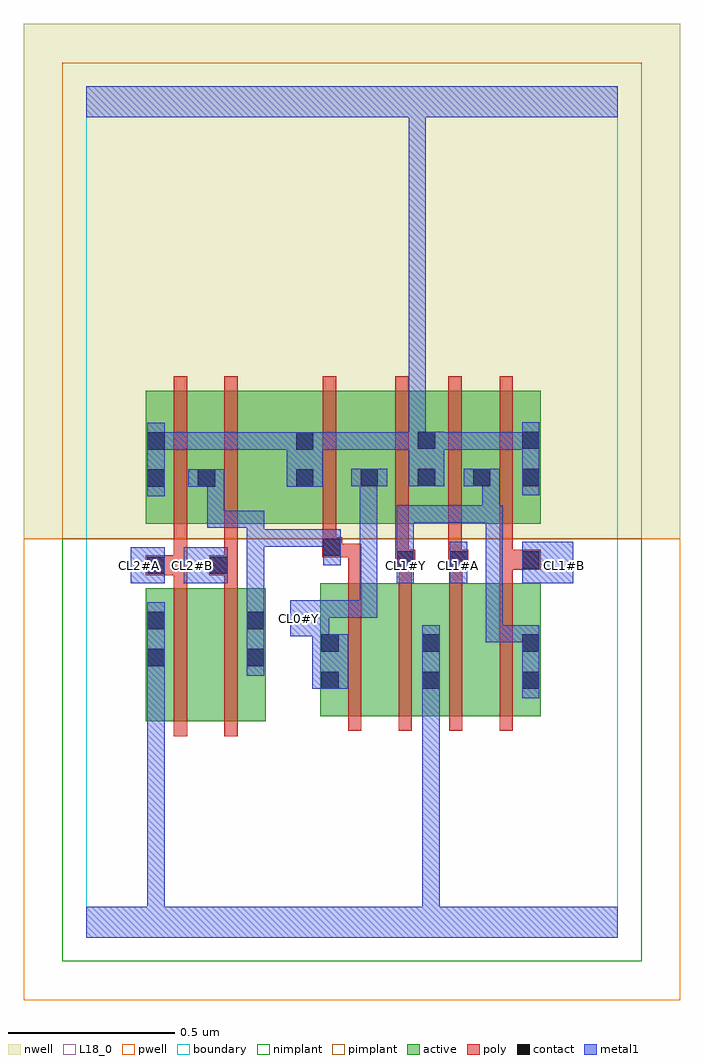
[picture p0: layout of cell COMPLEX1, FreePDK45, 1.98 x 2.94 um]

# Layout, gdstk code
import gdstk
lib = gdstk.Library(unit=1e-6, precision=1e-09)
def R(c, l, rs):  # rectangles x0, y0, x1, y1
    for r in rs: c.add(gdstk.rectangle(r[:2], r[2:], *l))
def A(c, l, x, y, w, h, nx, ny, dx, dy):  # array of equal rectangles
    R(c, l, [(x+i*dx, y+j*dy, x+i*dx+w, y+j*dy+h) for i in range(nx) for j in range(ny)])
active = (1, 0)
pwell = (2, 0)
nwell = (3, 0)
nimplant = (4, 0)
pimplant = (5, 0)
poly = (9, 0)
contact = (10, 0)
metal1 = (11, 0)
L18_0 = (18, 0)
boundary = (235, 0)

complex1 = lib.new_cell('COMPLEX1')
R(complex1, active, [(0.18,0.65,0.36,1.05), (0.36,0.65,0.54,1.05), (0.704,0.666,0.884,1.066), (0.884,0.666,1.068,1.066), (1.008,0.666,1.188,1.066), (1.188,0.666,1.368,1.066), (0.704,0.744,0.764,1.066), (1.008,0.744,1.068,0.916), (1.308,0.744,1.368,1.066), (0.18,0.756,0.24,1.05), (0.48,0.756,0.54,1.05), (0.18,1.244,0.24,1.644), (0.18,1.244,0.392,1.644), (0.332,1.244,0.392,1.644), (0.332,1.244,0.688,1.644), (0.628,1.244,0.688,1.644), (0.628,1.244,0.882,1.644), (0.822,1.244,0.882,1.644), (0.822,1.244,1.054,1.644), (0.994,1.244,1.054,1.644), (0.994,1.244,1.22,1.644), (1.16,1.244,1.22,1.644), (1.16,1.244,1.368,1.644), (1.308,1.244,1.368,1.644)])
R(complex1, pwell, [(-0.188,-0.188,1.788,1.2)])
R(complex1, nwell, [(-0.188,1.2,1.788,2.748)])
R(complex1, nimplant, [(-0.072,-0.072,1.672,1.2)])
R(complex1, pimplant, [(-0.072,1.2,1.672,2.632)])
A(complex1, poly, 0.788, 0.622, 0.04, 0.488, 4, 1, 0.152, 0)
A(complex1, poly, 0.94, 1.07, 0.04, 0.076, 3, 1, 0.152, 0)
R(complex1, poly, [(0.264,0.606,0.304,1.094), (0.416,0.606,0.456,1.094), (0.264,1.054,0.304,1.13), (0.416,1.054,0.456,1.13), (0.788,1.07,0.828,1.184), (0.18,1.09,0.304,1.15), (0.264,1.09,0.304,1.13), (0.264,1.09,0.304,1.13), (0.37,1.09,0.456,1.15), (0.93,1.106,0.99,1.166), (0.94,1.106,0.98,1.146), (0.94,1.106,0.98,1.146), (1.09,1.106,1.15,1.166), (1.244,1.106,1.368,1.166), (0.264,1.11,0.304,1.24), (0.416,1.11,0.456,1.15), (0.416,1.11,0.456,1.15), (0.416,1.11,0.456,1.24), (0.93,1.126,0.97,1.24), (1.09,1.126,1.13,1.24), (1.09,1.126,1.13,1.166), (1.09,1.126,1.13,1.166), (1.244,1.126,1.284,1.24), (1.244,1.126,1.284,1.166), (1.244,1.126,1.284,1.166), (0.71,1.144,0.77,1.204), (0.73,1.144,0.77,1.184), (0.73,1.144,0.828,1.184), (0.712,1.164,0.752,1.24), (0.264,1.2,0.304,1.688), (0.416,1.2,0.456,1.688), (0.712,1.2,0.752,1.688), (0.93,1.2,0.97,1.688), (1.09,1.2,1.13,1.688), (1.244,1.2,1.284,1.688)])
R(complex1, contact, [(0.708,0.748,0.76,0.8), (1.012,0.748,1.064,0.8), (1.312,0.748,1.364,0.8), (0.184,0.816,0.236,0.868), (0.484,0.816,0.536,0.868), (0.708,0.86,0.76,0.912), (1.012,0.86,1.064,0.912), (1.312,0.86,1.364,0.912), (0.184,0.928,0.236,0.98), (0.484,0.928,0.536,0.98), (0.184,1.094,0.236,1.146), (0.374,1.094,0.426,1.146), (0.934,1.11,0.986,1.162), (1.094,1.11,1.146,1.162), (1.312,1.11,1.364,1.162), (0.714,1.148,0.766,1.2), (0.184,1.356,0.236,1.408), (0.336,1.356,0.388,1.408), (0.632,1.356,0.684,1.408), (0.826,1.358,0.878,1.41), (0.998,1.358,1.05,1.41), (1.164,1.358,1.216,1.41), (1.312,1.358,1.364,1.41), (0.184,1.468,0.236,1.52), (0.632,1.468,0.684,1.52), (0.998,1.47,1.05,1.522), (1.312,1.47,1.364,1.522)])
R(complex1, metal1, [(0,0,1.6,0.092), (0.184,0.04,0.236,0.092), (0.184,0.04,0.236,0.092), (0.184,0.04,0.236,0.84), (1.012,0.04,1.064,0.092), (1.012,0.04,1.064,0.092), (1.012,0.04,1.064,0.772), (1.012,0.72,1.064,0.772), (1.012,0.72,1.064,0.772), (1.012,0.72,1.064,0.772), (1.012,0.72,1.064,0.772), (1.012,0.72,1.064,0.772), (1.012,0.72,1.064,0.772), (1.012,0.72,1.064,0.772), (1.012,0.72,1.064,0.772), (1.012,0.72,1.064,0.772), (1.012,0.72,1.064,0.772), (1.012,0.72,1.064,0.94), (1.312,0.72,1.364,0.94), (0.68,0.748,0.788,0.912), (0.184,0.788,0.236,0.84), (0.184,0.788,0.236,0.84), (0.184,0.788,0.236,0.84), (0.184,0.788,0.236,0.84), (0.184,0.788,0.236,0.84), (0.184,0.788,0.236,0.84), (0.184,0.788,0.236,0.84), (0.184,0.788,0.236,0.84), (0.184,0.788,0.236,0.84), (0.184,0.788,0.236,0.84), (0.184,0.788,0.236,1.008), (0.484,0.788,0.536,1.008), (0.68,0.86,0.732,0.958), (1.202,0.888,1.254,0.94), (1.202,0.888,1.364,0.94), (1.202,0.888,1.254,1.3), (1.312,0.888,1.364,0.94), (1.312,0.888,1.364,0.94), (0.614,0.906,0.732,1.014), (0.484,0.956,0.536,1.228), (0.68,0.962,0.876,1.014), (0.824,0.962,0.876,1.014), (0.824,0.962,0.876,1.014), (0.824,0.962,0.876,1.014), (0.824,0.962,0.876,1.41), (0.134,1.066,0.236,1.174), (0.294,1.066,0.426,1.174), (0.934,1.066,0.986,1.19), (1.094,1.066,1.146,1.19), (1.312,1.066,1.466,1.19), (0.714,1.12,0.766,1.228), (0.934,1.138,0.986,1.19), (0.934,1.138,0.986,1.3), (0.484,1.176,0.536,1.228), (0.484,1.176,0.536,1.228), (0.484,1.176,0.536,1.228), (0.484,1.176,0.536,1.228), (0.484,1.176,0.766,1.228), (0.484,1.176,0.536,1.284), (0.364,1.232,0.416,1.284), (0.364,1.232,0.416,1.284), (0.364,1.232,0.416,1.284), (0.364,1.232,0.536,1.284), (0.364,1.232,0.416,1.408), (0.934,1.248,1.244,1.3), (1.192,1.248,1.244,1.3), (1.192,1.248,1.244,1.3), (1.192,1.248,1.244,1.41), (1.192,1.248,1.254,1.3), (1.202,1.248,1.254,1.3), (1.202,1.248,1.254,1.3), (0.184,1.328,0.236,1.548), (1.312,1.33,1.364,1.55), (0.308,1.356,0.416,1.408), (0.604,1.356,0.712,1.52), (0.798,1.358,0.906,1.41), (0.824,1.358,0.876,1.41), (0.824,1.358,0.876,1.41), (0.97,1.358,1.078,1.522), (1.136,1.358,1.244,1.41), (0.184,1.468,0.236,1.52), (0.184,1.468,0.236,1.52), (0.184,1.468,0.346,1.52), (0.294,1.468,0.346,1.52), (0.294,1.468,0.346,1.52), (0.294,1.468,0.346,1.52), (0.294,1.468,0.656,1.52), (0.604,1.468,0.656,1.52), (0.604,1.468,0.656,1.52), (0.66,1.468,0.876,1.52), (0.824,1.468,0.876,1.52), (0.824,1.468,0.876,1.52), (0.824,1.468,0.876,1.52), (0.824,1.468,1.022,1.52), (0.97,1.468,1.022,1.52), (0.97,1.468,1.022,1.52), (1.026,1.468,1.188,1.52), (1.136,1.468,1.188,1.52), (1.136,1.468,1.188,1.52), (1.136,1.468,1.188,1.52), (1.136,1.468,1.364,1.52), (1.312,1.468,1.364,1.52), (1.312,1.468,1.364,1.52), (0.97,1.47,1.022,1.522), (0.97,1.47,1.022,1.522), (0.97,1.47,1.022,1.522), (0.97,1.47,1.022,1.522), (0.97,1.47,1.022,1.522), (0.97,1.47,1.022,1.522), (0.97,1.47,1.022,1.522), (0.97,1.47,1.022,1.522), (0.97,1.47,1.022,1.522), (0.97,1.47,1.022,1.522), (0.97,1.47,1.022,2.52), (0,2.468,1.6,2.56), (0.97,2.468,1.022,2.52), (0.97,2.468,1.022,2.52), (0.97,2.468,1.022,2.52), (0.97,2.468,1.022,2.52), (0.97,2.468,1.022,2.52), (0.97,2.468,1.022,2.52)])
R(complex1, L18_0, [(0,0,1.6,0.092), (0.184,0.04,0.236,0.092), (0.184,0.04,0.236,0.092), (0.184,0.04,0.236,0.84), (1.012,0.04,1.064,0.092), (1.012,0.04,1.064,0.092), (1.012,0.04,1.064,0.772), (1.012,0.72,1.064,0.772), (1.012,0.72,1.064,0.772), (1.012,0.72,1.064,0.772), (1.012,0.72,1.064,0.772), (1.012,0.72,1.064,0.772), (1.012,0.72,1.064,0.772), (1.012,0.72,1.064,0.772), (1.012,0.72,1.064,0.772), (1.012,0.72,1.064,0.772), (1.012,0.72,1.064,0.772), (1.012,0.72,1.064,0.94), (1.312,0.72,1.364,0.94), (0.68,0.748,0.788,0.912), (0.184,0.788,0.236,0.84), (0.184,0.788,0.236,0.84), (0.184,0.788,0.236,0.84), (0.184,0.788,0.236,0.84), (0.184,0.788,0.236,0.84), (0.184,0.788,0.236,0.84), (0.184,0.788,0.236,0.84), (0.184,0.788,0.236,0.84), (0.184,0.788,0.236,0.84), (0.184,0.788,0.236,0.84), (0.184,0.788,0.236,1.008), (0.68,0.86,0.732,0.958), (1.202,0.888,1.254,0.94), (1.202,0.888,1.364,0.94), (1.202,0.888,1.254,1.3), (1.312,0.888,1.364,0.94), (1.312,0.888,1.364,0.94), (0.614,0.906,0.732,1.014), (0.614,0.934,0.666,0.986), (0.68,0.962,0.876,1.014), (0.824,0.962,0.876,1.014), (0.824,0.962,0.876,1.014), (0.824,0.962,0.876,1.014), (0.824,0.962,0.876,1.41), (0.134,1.066,0.236,1.174), (0.294,1.066,0.426,1.174), (0.934,1.066,0.986,1.19), (1.094,1.066,1.146,1.19), (1.312,1.066,1.466,1.19), (0.134,1.094,0.186,1.146), (0.294,1.094,0.346,1.146), (0.934,1.094,0.986,1.146), (1.094,1.094,1.146,1.146), (1.414,1.094,1.466,1.146), (0.934,1.138,0.986,1.19), (0.934,1.138,0.986,1.3), (0.934,1.248,1.244,1.3), (1.192,1.248,1.244,1.3), (1.192,1.248,1.244,1.3), (1.192,1.248,1.244,1.41), (1.192,1.248,1.254,1.3), (1.202,1.248,1.254,1.3), (1.202,1.248,1.254,1.3), (0.184,1.328,0.236,1.548), (1.312,1.33,1.364,1.55), (0.604,1.356,0.712,1.52), (0.798,1.358,0.906,1.41), (0.824,1.358,0.876,1.41), (0.824,1.358,0.876,1.41), (0.97,1.358,1.078,1.522), (1.136,1.358,1.244,1.41), (0.184,1.468,0.236,1.52), (0.184,1.468,0.236,1.52), (0.184,1.468,0.346,1.52), (0.294,1.468,0.346,1.52), (0.294,1.468,0.346,1.52), (0.294,1.468,0.346,1.52), (0.294,1.468,0.656,1.52), (0.604,1.468,0.656,1.52), (0.604,1.468,0.656,1.52), (0.66,1.468,0.876,1.52), (0.824,1.468,0.876,1.52), (0.824,1.468,0.876,1.52), (0.824,1.468,0.876,1.52), (0.824,1.468,1.022,1.52), (0.97,1.468,1.022,1.52), (0.97,1.468,1.022,1.52), (1.026,1.468,1.188,1.52), (1.136,1.468,1.188,1.52), (1.136,1.468,1.188,1.52), (1.136,1.468,1.188,1.52), (1.136,1.468,1.364,1.52), (1.312,1.468,1.364,1.52), (1.312,1.468,1.364,1.52), (0.97,1.47,1.022,1.522), (0.97,1.47,1.022,1.522), (0.97,1.47,1.022,1.522), (0.97,1.47,1.022,1.522), (0.97,1.47,1.022,1.522), (0.97,1.47,1.022,1.522), (0.97,1.47,1.022,1.522), (0.97,1.47,1.022,1.522), (0.97,1.47,1.022,1.522), (0.97,1.47,1.022,1.522), (0.97,1.47,1.022,2.52), (0,2.468,1.6,2.56), (0.97,2.468,1.022,2.52), (0.97,2.468,1.022,2.52), (0.97,2.468,1.022,2.52), (0.97,2.468,1.022,2.52), (0.97,2.468,1.022,2.52), (0.97,2.468,1.022,2.52)])
R(complex1, boundary, [(0,0,1.6,2.56)])
complex1.add(gdstk.Label('CL0#Y', (0.64,0.96), layer=11, texttype=0))
complex1.add(gdstk.Label('CL1#A', (1.12,1.12), layer=11, texttype=0))
complex1.add(gdstk.Label('CL1#B', (1.44,1.12), layer=11, texttype=0))
complex1.add(gdstk.Label('CL1#Y', (0.96,1.12), layer=11, texttype=0))
complex1.add(gdstk.Label('CL2#A', (0.16,1.12), layer=11, texttype=0))
complex1.add(gdstk.Label('CL2#B', (0.32,1.12), layer=11, texttype=0))

lib.write_gds('COMPLEX1.gds')
